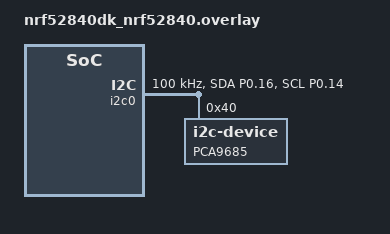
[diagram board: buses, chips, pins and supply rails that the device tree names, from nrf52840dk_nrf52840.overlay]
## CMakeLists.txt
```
# SPDX-License-Identifier: Apache-2.0

cmake_minimum_required(VERSION 3.20.0)
find_package(Zephyr REQUIRED HINTS $ENV{ZEPHYR_BASE})
project(blinky)

target_sources(app PRIVATE src/main.c src/pca9685.c)
```

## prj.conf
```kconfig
CONFIG_I2C=y

CONFIG_LOG=y
CONFIG_PRINTK=y
CONFIG_STDOUT_CONSOLE=y
CONFIG_RTT_CONSOLE=y
CONFIG_USE_SEGGER_RTT=y
CONFIG_I2C_DUMP_MESSAGES=y
```

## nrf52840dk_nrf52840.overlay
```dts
// To get started, press Ctrl+Space to bring up the completion menu and view the available nodes.

// You can also use the buttons in the sidebar to perform actions on nodes.
// Actions currently available include:

// * Enabling / disabling the node
// * Adding the bus to a bus
// * Removing the node
// * Connecting ADC channels

// For more help, browse the DeviceTree documentation at https://docs.zephyrproject.org/latest/guides/dts/index.html
// You can also visit the nRF DeviceTree extension documentation at https://nrfconnect.github.io/vscode-nrf-connect/devicetree/nrfdevicetree.html

&pinctrl {
	i2c0_default: i2c0_default {
		group1 {
			psels = <NRF_PSEL(TWIM_SDA, 0, 16)>,
					<NRF_PSEL(TWIM_SCL, 0, 14)>;
		};
	};

	i2c0_sleep: i2c0_sleep {
		group1 {
			psels = <NRF_PSEL(TWIM_SDA, 0, 16)>,
					<NRF_PSEL(TWIM_SCL, 0, 14)>;
			low-power-enable;
		};
	};
};

&i2c0 {
	compatible = "nordic,nrf-twim";
	status = "okay";
	clock-frequency = <I2C_BITRATE_STANDARD>;

	pinctrl-0 = <&i2c0_default>;
	pinctrl-1 = <&i2c0_sleep>;
	pinctrl-names = "default", "sleep";

	pca9685: pca9685@40 {
		compatible = "i2c-device";
		reg = < 0x40 >;
		label = "PCA9685";
	};
};
```

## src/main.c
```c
#include <zephyr/kernel.h>
#include <stdio.h>
#include "pca9685.h"


static struct k_timer led_timer;
PCA9685 pca9685;
static bool led_is_on = true;

static void period0_expire(struct k_timer *timer)
{
	if(led_is_on) {
		pca9685_setPWM(&pca9685, 0, 4096, 0);       // turns pin fully on
		led_is_on = false;
	} else {
		pca9685_setPWM(&pca9685, 0, 0, 4096);       // turns pin fully off
		led_is_on = true;
	}
}

/**
 * @brief working case
*/
void good_case()
{
	while(1){
		pca9685_setPWM(&pca9685, 0, 4096, 0);       // turns pin fully on
		k_sleep(K_SECONDS(1));
		pca9685_setPWM(&pca9685, 0, 0, 4096);       // turns pin fully off
		k_sleep(K_SECONDS(1));
	}
}

/**
 * @brief with following error
 * 
 * 00> [00:00:12.408,569] <err> i2c_nrfx_twim: Error on I2C line occurred for message 0
*/
void bad_case()
{
	k_timer_init(&led_timer, period0_expire, NULL);
	k_timer_start(&led_timer, K_SECONDS(1), K_SECONDS(1));

	while(1) {
		k_sleep(K_SECONDS(1));
	}
}

void main(void)
{
	printk("start");
	pca9685_init(&pca9685);

	for (uint8_t i=0; i<16; i++) {
		pca9685_setPWM(&pca9685, i, 4096, 0);
	}

	// good_case();
	bad_case();
}
```

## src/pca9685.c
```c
/*!
 *  @file Adafruit_PWMServoDriver.cpp
 *
 *  @mainpage Adafruit 16-channel PWM & Servo driver
 *
 *  @section intro_sec Introduction
 *
 *  This is a library for the 16-channel PWM & Servo driver.
 *
 *  Designed specifically to work with the Adafruit PWM & Servo driver.
 *
 *  Pick one up today in the adafruit shop!
 *  ------> https://www.adafruit.com/product/815
 *
 *  These displays use I2C to communicate, 2 pins are required to interface.
 *
 *  Adafruit invests time and resources providing this open source code,
 *  please support Adafruit andopen-source hardware by purchasing products
 *  from Adafruit!
 *
 *  @section author Author
 *
 *  Limor Fried/Ladyada (Adafruit Industries).
 *
 *  @section license License
 *
 *  BSD license, all text above must be included in any redistribution
 */

#include "pca9685.h"

#include <zephyr/kernel.h>
#include <zephyr/device.h>

#include <zephyr/drivers/sensor.h>
#include <zephyr/drivers/i2c.h>

#include <stdio.h>
#include <string.h>

#define PCA_NODE DT_NODELABEL(pca9685)
static const struct i2c_dt_spec pca_i2c = I2C_DT_SPEC_GET(PCA_NODE);

uint8_t pca9685_txBuff[8];
uint8_t pca9685_rxBuff[8];
#define ENABLE_DEBUG_OUTPUT 1
static uint8_t pca9685_read8(PCA9685 *pca9685_module, uint8_t addr);
static void pca9685_write8(PCA9685 *pca9685_module, uint8_t addr, uint8_t d);


/*!
 *  @brief  Setups the I2C interface and hardware
 *  @param  prescale
 *          Sets External Clock (Optional)
 */
void pca9685_getconfig(PCA9685 *pca9685_module){
	pca9685_module->_i2caddr = PCA9685_I2C_ADDRESS;
	pca9685_module->_prescaler = 0;
	pca9685_module->_pwmfeq = 1000;
	pca9685_module->_clksrc = PCA9685_intclk;
	pca9685_module->_oscillator_freq = FREQUENCY_OSCILLATOR;
}


/*!
 *  @brief  Setups the I2C interface and hardware
 *  @param  prescale
 *          Sets External Clock (Optional)
 */
void pca9685_init(PCA9685 *pca9685_module) {
	pca9685_reset(pca9685_module);

	if (pca9685_module->_prescaler) {
		pca9685_setExtClk(pca9685_module);
	} else {
		// set a default frequency
		pca9685_setPWMFreq(pca9685_module);
	}
}

/*!
 *  @brief  Sends a reset command to the PCA9685 chip over I2C
 */
void pca9685_reset(PCA9685 *pca9685_module) {
	pca9685_write8(pca9685_module, PCA9685_MODE1, MODE1_RESTART);
	k_sleep(K_MSEC(10));
}

/*!
 *  @brief  Puts board into sleep mode
 */
void pca9685_sleep(PCA9685 *pca9685_module) {
	uint8_t awake = pca9685_read8(pca9685_module, PCA9685_MODE1);
	uint8_t sleep = awake | MODE1_SLEEP; // set sleep bit high
	pca9685_write8(pca9685_module, PCA9685_MODE1, sleep);
	k_sleep(K_MSEC(5)); // wait until cycle ends for sleep to be active
}

/*!
 *  @brief  Wakes board from sleep
 */
void pca9685_wakeup(PCA9685 *pca9685_module) {
  uint8_t sleep = pca9685_read8(pca9685_module, PCA9685_MODE1);
  uint8_t wakeup = sleep & ~MODE1_SLEEP; // set sleep bit low
  pca9685_write8(pca9685_module, PCA9685_MODE1, wakeup);
}

/*!
 *  @brief  Sets EXTCLK pin to use the external clock
 *  @param  prescale
 *          Configures the prescale value to be used by the external clock
 */
void pca9685_setExtClk(PCA9685 *pca9685_module) {
  uint8_t oldmode = pca9685_read8(pca9685_module, PCA9685_MODE1);
  uint8_t newmode = (oldmode & ~MODE1_RESTART) | MODE1_SLEEP; // sleep
  pca9685_write8(pca9685_module, PCA9685_MODE1, newmode); // go to sleep, turn off internal oscillator

  // This sets both the SLEEP and EXTCLK bits of the MODE1 register to switch to
  // use the external clock.
  pca9685_write8(pca9685_module, PCA9685_MODE1, (newmode |= MODE1_EXTCLK));

  pca9685_write8(pca9685_module, PCA9685_PRESCALE, pca9685_module->_prescaler); // set the prescaler

  k_sleep(K_MSEC(5));
  // clear the SLEEP bit to start
  pca9685_write8(pca9685_module, PCA9685_MODE1, (newmode & ~MODE1_SLEEP) | MODE1_RESTART | MODE1_AI);

#ifdef ENABLE_DEBUG_OUTPUT
  printk("Mode now 0x%02X\n", pca9685_read8(pca9685_module, PCA9685_MODE1));
#endif
}

/*!
 *  @brief  Sets the PWM frequency for the entire chip, up to ~1.6 KHz
 *  @param  freq Floating point frequency that we will attempt to match
 */
void pca9685_setPWMFreq(PCA9685 *pca9685_module) {
#ifdef ENABLE_DEBUG_OUTPUT
  printk("Attempting to set freq %ul\n", pca9685_module->_pwmfeq);
#endif
  // Range output modulation frequency is dependant on oscillator
  if (pca9685_module->_pwmfeq < 1)
	pca9685_module->_pwmfeq = 1;
  if (pca9685_module->_pwmfeq > 3500)
	pca9685_module->_pwmfeq = 3500; // Datasheet limit is 3052=50MHz/(4*4096)

  float prescaleval = ((pca9685_module->_oscillator_freq / (pca9685_module->_pwmfeq * 4096.0)) + 0.5) - 1;
  if (prescaleval < PCA9685_PRESCALE_MIN)
    prescaleval = PCA9685_PRESCALE_MIN;
  if (prescaleval > PCA9685_PRESCALE_MAX)
    prescaleval = PCA9685_PRESCALE_MAX;
  pca9685_module->_prescaler = (uint8_t)prescaleval;


#ifdef ENABLE_DEBUG_OUTPUT
  printk("Final pre-scale: 0x%02X\n", pca9685_module->_prescaler);
#endif

  uint8_t oldmode = pca9685_read8(pca9685_module, PCA9685_MODE1);
  uint8_t newmode = (oldmode & ~MODE1_RESTART) | MODE1_SLEEP; // sleep
  pca9685_write8(pca9685_module, PCA9685_MODE1, newmode);                             // go to sleep
  pca9685_write8(pca9685_module, PCA9685_PRESCALE, pca9685_module->_prescaler); // set the prescaler
  pca9685_write8(pca9685_module, PCA9685_MODE1, oldmode);
  k_sleep(K_MSEC(5));
  // This sets the MODE1 register to turn on auto increment.
  pca9685_write8(pca9685_module, PCA9685_MODE1, oldmode | MODE1_RESTART | MODE1_AI);

#ifdef ENABLE_DEBUG_OUTPUT
  printk("Mode now 0x%02X\n", pca9685_read8(pca9685_module, PCA9685_MODE1));
#endif
}

/*!
 *  @brief  Sets the output mode of the PCA9685 to either
 *  open drain or push pull / totempole.
 *  Warning: LEDs with integrated zener diodes should
 *  only be driven in open drain mode.
 *  @param  totempole Totempole if true, open drain if false.
 */
void pca9685_setOutputMode(PCA9685 *pca9685_module, bool totempole) {
  uint8_t oldmode = pca9685_read8(pca9685_module, PCA9685_MODE2);
  uint8_t newmode;
  if (totempole) {
    newmode = oldmode | MODE2_OUTDRV;
  } else {
    newmode = oldmode & ~MODE2_OUTDRV;
  }
  pca9685_write8(pca9685_module, PCA9685_MODE2, newmode);
#ifdef ENABLE_DEBUG_OUTPUT
  printk("Setting output mode: %s by setting MODE2 to 0x%02X\n", (totempole) ? "totempole" : "open drain", newmode);
#endif
}

/*!
 *  @brief  Reads set Prescale from PCA9685
 *  @return prescale value
 */
uint8_t pca9685_readPrescale(PCA9685 *pca9685_module) {
  return pca9685_read8(pca9685_module, PCA9685_PRESCALE);
}

/*!
 *  @brief  Gets the PWM output of one of the PCA9685 pins
 *  @param  num One of the PWM output pins, from 0 to 15
 *  @return requested PWM output value
 */
uint8_t* pca9685_getPWM(PCA9685 *pca9685_module, uint8_t num) {
  pca9685_txBuff[0] = (PCA9685_LED0_ON_L + 4 * num);
  memset(pca9685_rxBuff, 0, 4);

  i2c_write_dt(&pca_i2c,pca9685_txBuff,1);
  i2c_read_dt(&pca_i2c,pca9685_rxBuff,4);

  return pca9685_rxBuff;
}

/*!
 *  @brief  Sets the PWM output of one of the PCA9685 pins
 *  @param  num One of the PWM output pins, from 0 to 15
 *  @param  on At what point in the 4096-part cycle to turn the PWM output ON
 *  @param  off At what point in the 4096-part cycle to turn the PWM output OFF
 */
void pca9685_setPWM(PCA9685 *pca9685_module, uint8_t num, uint16_t on, uint16_t off) {
#ifdef ENABLE_DEBUG_OUTPUT
  printk("Setting PWM %d : %d -> %d\n", num, on, off);
#endif
  pca9685_txBuff[0] = PCA9685_LED0_ON_L + 4 * num;
  pca9685_txBuff[1] = on;
  pca9685_txBuff[2] = on>>8;
  pca9685_txBuff[3] = off;
  pca9685_txBuff[4] = off>>8;

  int ret = i2c_write_dt(&pca_i2c,pca9685_txBuff,5);
  printk("ret = %d\n", ret);
}

/*!
 *   @brief  Helper to set pin PWM output. Sets pin without having to deal with
 * on/off tick placement and properly handles a zero value as completely off and
 * 4095 as completely on.  Optional invert parameter supports inverting the
 * pulse for sinking to ground.
 *   @param  num One of the PWM output pins, from 0 to 15
 *   @param  val The number of ticks out of 4096 to be active, should be a value
 * from 0 to 4095 inclusive.
 *   @param  invert If true, inverts the output, defaults to 'false'
 */
void pca9685_setPin(PCA9685 *pca9685_module, uint8_t num, uint16_t val, bool invert) {
  // Clamp value between 0 and 4095 inclusive.
  val = (val < (uint16_t)4095)? val: 4095;
  if (invert) {
    if (val == 0) {
      // Special value for signal fully on.
    	pca9685_setPWM(pca9685_module, num, 4095, 0);
    } else if (val == 4095) {
      // Special value for signal fully off.
    	pca9685_setPWM(pca9685_module, num, 0, 4095);
    } else {
    	pca9685_setPWM(pca9685_module, num, 0, 4095 - val);
    }
  } else {
    if (val == 4095) {
      // Special value for signal fully on.
    	pca9685_setPWM(pca9685_module, num, 4095, 0);
    } else if (val == 0) {
      // Special value for signal fully off.
    	pca9685_setPWM(pca9685_module, num, 0, 4095);
    } else {
    	pca9685_setPWM(pca9685_module, num, 0, val);
    }
  }
}

/*!
 *  @brief  Sets the PWM output of one of the PCA9685 pins based on the input
 * microseconds, output is not precise
 *  @param  num One of the PWM output pins, from 0 to 15
 *  @param  Microseconds The number of Microseconds to turn the PWM output ON
 */
void pca9685_writeMicroseconds(PCA9685 *pca9685_module, uint8_t num,
                                                uint16_t Microseconds) {
#ifdef ENABLE_DEBUG_OUTPUT
  printk("Setting PWM Via Microseconds on output %d : %d -> \n", num, Microseconds);
#endif

  double pulse = Microseconds;
  double pulselength;
  pulselength = 1000000; // 1,000,000 us per second

  // Read prescale
  uint16_t prescale = pca9685_readPrescale(pca9685_module);

#ifdef ENABLE_DEBUG_OUTPUT
  printk("0x%02X PCA9685 chip prescale\n", prescale);
#endif

  // Calculate the pulse for PWM based on Equation 1 from the datasheet section
  // 7.3.5
  prescale += 1;
  pulselength *= prescale;
  pulselength /= pca9685_module->_oscillator_freq;

#ifdef ENABLE_DEBUG_OUTPUT
  printk("%02f  us per bit\n", pulselength);
#endif

  pulse /= pulselength;

#ifdef ENABLE_DEBUG_OUTPUT
  printk("%02f  pulse for PWM\n", pulse);
#endif

  pca9685_setPWM(pca9685_module, num, 0, pulse);
}

/*!
 *  @brief  Getter for the internally tracked oscillator used for freq
 * calculations
 *  @returns The frequency the PCA9685 thinks it is running at (it cannot
 * introspect)
 */
uint32_t pca9685_getOscillatorFrequency(PCA9685 *pca9685_module) {
  return pca9685_module->_oscillator_freq;
}

/*!
 *  @brief Setter for the internally tracked oscillator used for freq
 * calculations
 *  @param freq The frequency the PCA9685 should use for frequency calculations
 */
void pca9685_setOscillatorFrequency(PCA9685 *pca9685_module, uint32_t freq) {
  pca9685_module->_oscillator_freq = freq;
}

/******************* Low level I2C interface */

uint8_t pca9685_read8(PCA9685 *pca9685_module, uint8_t addr) {
  pca9685_txBuff[0] = addr;
  memset(pca9685_rxBuff, 0, 1);

  i2c_write_dt(&pca_i2c,pca9685_txBuff,1);
  i2c_read_dt(&pca_i2c,pca9685_rxBuff,1);

  return pca9685_rxBuff[0];
}

void pca9685_write8(PCA9685 *pca9685_module, uint8_t addr, uint8_t d) {
  pca9685_txBuff[0] = addr;
  pca9685_txBuff[1] = d;

  i2c_write_dt(&pca_i2c,pca9685_txBuff,2);
}
```

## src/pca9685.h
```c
#ifndef _PCA9685_H
#define _PCA9685_H

#include <stdint.h>
#include <stdbool.h>

// REGISTER ADDRESSES
#define PCA9685_MODE1		0x00    /**< Mode Register 1 */
#define PCA9685_MODE2 		0x01    /**< Mode Register 2 */
#define PCA9685_SUBADR1 	0x02    /**< I2C-bus subaddress 1 */
#define PCA9685_SUBADR2 	0x03    /**< I2C-bus subaddress 2 */
#define PCA9685_SUBADR3 	0x04    /**< I2C-bus subaddress 3 */
#define PCA9685_ALLCALLADR 	0x05 	/**< LED All Call I2C-bus address */
#define PCA9685_LED0_ON_L 	0x06  	/**< LED0 on tick, low byte*/
#define PCA9685_LED0_ON_H 	0x07  	/**< LED0 on tick, high byte*/
#define PCA9685_LED0_OFF_L 	0x08 	/**< LED0 off tick, low byte */
#define PCA9685_LED0_OFF_H 	0x09 	/**< LED0 off tick, high byte */
// etc all 16:  LED15_OFF_H 0x45
#define PCA9685_ALLLED_ON_L 0xFA  	/**< load all the LEDn_ON registers, low */
#define PCA9685_ALLLED_ON_H 0xFB  	/**< load all the LEDn_ON registers, high */
#define PCA9685_ALLLED_OFF_L 0xFC 	/**< load all the LEDn_OFF registers, low */
#define PCA9685_ALLLED_OFF_H 0xFD 	/**< load all the LEDn_OFF registers,high */
#define PCA9685_PRESCALE 	0xFE    /**< Prescaler for PWM output frequency */
#define PCA9685_TESTMODE 	0xFF    /**< defines the test mode to be entered */

// MODE1 bits
#define MODE1_ALLCAL 	0x01  	/**< respond to LED All Call I2C-bus address */
#define MODE1_SUB3 		0x02  	/**< respond to I2C-bus subaddress 3 */
#define MODE1_SUB2 		0x04  	/**< respond to I2C-bus subaddress 2 */
#define MODE1_SUB1 		0x08  	/**< respond to I2C-bus subaddress 1 */
#define MODE1_SLEEP 	0x10  	/**< Low power mode. Oscillator off */
#define MODE1_AI 		0x20  	/**< Auto-Increment enabled */
#define MODE1_EXTCLK 	0x40  	/**< Use EXTCLK pin clock */
#define MODE1_RESTART 	0x80	/**< Restart enabled */
// MODE2 bits
#define MODE2_OUTNE_0 	0x01 	/**< Active LOW output enable input */
#define MODE2_OUTNE_1   0x02 /**< Active LOW output enable input - high impedience */
#define MODE2_OUTDRV 	0x04 	/**< totem pole structure vs open-drain */
#define MODE2_OCH 		0x08    /**< Outputs change on ACK vs STOP */
#define MODE2_INVRT 	0x10  	/**< Output logic state inverted */

#define PCA9685_I2C_ADDRESS 	0x40		/**< Default PCA9685 I2C Slave Address */
#define FREQUENCY_OSCILLATOR 	25000000 	/**< Int. osc. frequency in datasheet */

#define PCA9685_PRESCALE_MIN 	3   	/**< minimum prescale value */
#define PCA9685_PRESCALE_MAX 	255 	/**< maximum prescale value */

typedef enum PCA9685_clk {
  PCA9685_intclk = 0,
  PCA9685_extclk
} PCA9685_clk;

typedef struct PCA9685 {
	uint8_t _i2caddr;
	uint8_t _prescaler;
	uint16_t _pwmfeq;
	PCA9685_clk _clksrc;
	uint32_t _oscillator_freq;
} PCA9685;

void pca9685_getconfig(PCA9685 *pca9685_module);
void pca9685_init(PCA9685 *pca9685_module);
void pca9685_reset(PCA9685 *pca9685_module);
void pca9685_sleep(PCA9685 *pca9685_module);
void pca9685_wakeup(PCA9685 *pca9685_module);
void pca9685_setExtClk(PCA9685 *pca9685_module);
void pca9685_setPWMFreq(PCA9685 *pca9685_module);
void pca9685_setOutputMode(PCA9685 *pca9685_module, bool totempole);
uint8_t* pca9685_getPWM(PCA9685 *pca9685_module, uint8_t num);
void pca9685_setPWM(PCA9685 *pca9685_module, uint8_t num, uint16_t on, uint16_t off);
void pca9685_setPin(PCA9685 *pca9685_module, uint8_t num, uint16_t val, bool invert /*= false*/);
uint8_t pca9685_readPrescale(PCA9685 *pca9685_module);
void pca9685_writeMicroseconds(PCA9685 *pca9685_module, uint8_t num, uint16_t Microseconds);

void pca9685_setOscillatorFrequency(PCA9685 *pca9685_module, uint32_t freq);
uint32_t pca9685_getOscillatorFrequency(PCA9685 *pca9685_module);

#endif
```
